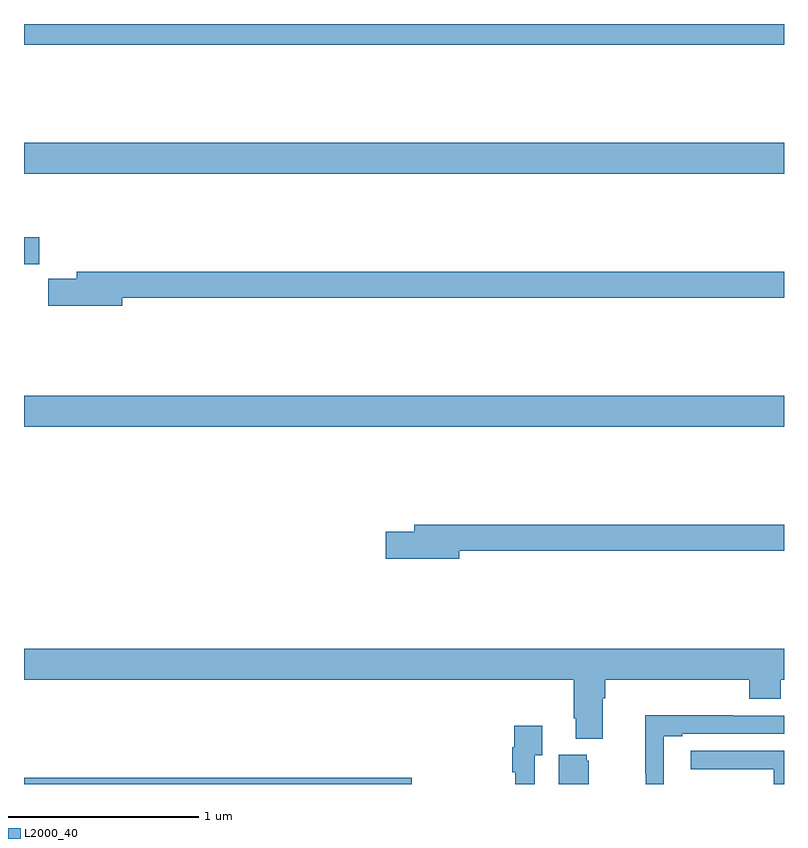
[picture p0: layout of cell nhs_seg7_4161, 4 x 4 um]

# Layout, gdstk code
import gdstk
lib = gdstk.Library(unit=1e-6, precision=1e-09)
def R(c, l, rs):  # rectangles x0, y0, x1, y1
    for r in rs: c.add(gdstk.rectangle(r[:2], r[2:], *l))
def P(c, l, *ps):  # polygons
    for p in ps: c.add(gdstk.Polygon(p, *l))
L2000_40 = (2000, 40)

nhs_seg7_4161 = lib.new_cell('nhs_seg7_4161')
R(nhs_seg7_4161, L2000_40, [(373,1068,375.04,1068.032), (373,1069.88,377,1070.044), (373,1070.735,373.081,1070.877), (373,1071.212,377,1071.376), (373,1071.892,377,1072)])
P(nhs_seg7_4161, L2000_40, [(373.516,1070.56),(377,1070.56),(377,1070.696),(373.277,1070.696),(373.277,1070.66),(373.128,1070.66),(373.128,1070.518),(373.516,1070.518)],
  [(375.292,1069.228),(377,1069.228),(377,1069.364),(375.053,1069.364),(375.053,1069.328),(374.904,1069.328),(374.904,1069.186),(375.292,1069.186)],
  [(376.045,1068.452),(376.058,1068.452),(376.058,1068.548),(376.817,1068.548),(376.817,1068.449),(376.982,1068.449),(376.982,1068.548),(377,1068.548),(377,1068.712),(373,1068.712),(373,1068.548),(375.893,1068.548),(375.893,1068.346),(375.905,1068.346),(375.905,1068.239),(376.045,1068.239)],
  [(376.368,1068.252),(376.465,1068.252),(376.465,1068.264),(377,1068.264),(377,1068.36),(376.733,1068.36),(376.733,1068.362),(376.27,1068.362),(376.27,1068.055),(376.272,1068.055),(376.272,1068),(376.368,1068)],
  [(375.687,1068.151),(375.727,1068.151),(375.727,1068.307),(375.579,1068.307),(375.579,1068.194),(375.571,1068.194),(375.571,1068.062),(375.586,1068.062),(375.586,1068),(375.687,1068)],
  [(377,1068.174),(376.509,1068.174),(376.509,1068.078),(376.947,1068.078),(376.947,1068),(377,1068)],
  [(375.973,1068.123),(375.962,1068.123),(375.962,1068.154),(375.815,1068.154),(375.815,1068),(375.973,1068)])

lib.write_gds('nhs_seg7_4161.gds')
